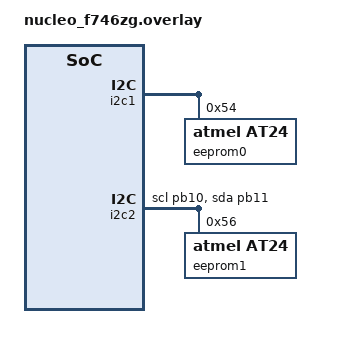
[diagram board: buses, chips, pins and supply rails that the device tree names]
/* SPDX-License-Identifier: Apache-2.0 */

&i2c1 {
	eeprom0: eeprom@54 {
		compatible = "atmel,at24";
		reg = <0x54>;
		size = <1024>;
		pagesize = <16>;
		address-width = <8>;
		timeout = <5>;
	};
};


&i2c2 {
	pinctrl-0 = <&i2c2_scl_pb10 &i2c2_sda_pb11>;
	pinctrl-names = "default";
	status = "okay";

	eeprom1: eeprom@56 {
		compatible = "atmel,at24";
		reg = <0x56>;
		size = <1024>;
		pagesize = <16>;
		address-width = <8>;
		timeout = <5>;
	};
};
